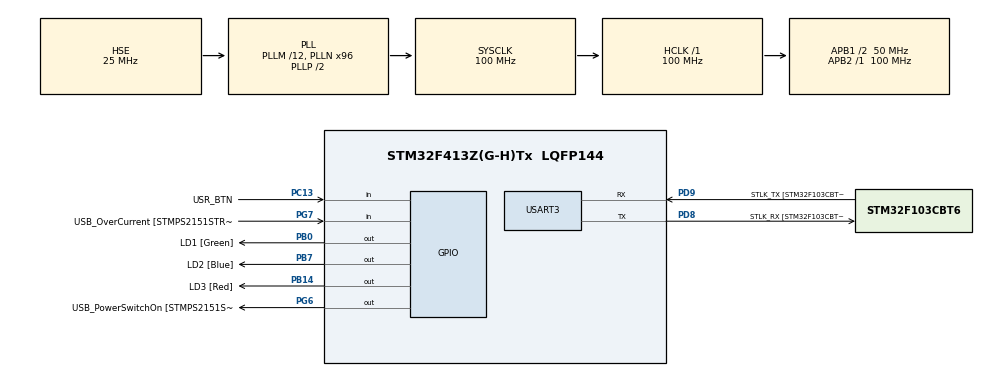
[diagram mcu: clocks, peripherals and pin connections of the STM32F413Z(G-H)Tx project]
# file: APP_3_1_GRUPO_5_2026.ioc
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Mcu.Family=STM32F4
Mcu.Name=STM32F413Z(G-H)Tx
Mcu.Package=LQFP144
NVIC.PriorityGroup=NVIC_PRIORITYGROUP_4
PA13.GPIO_Label=TMS
PA13.Mode=Serial_Wire
PA13.Signal=SYS_JTMS-SWDIO
PA14.GPIO_Label=TCK
PA14.Mode=Serial_Wire
PA14.Signal=SYS_JTCK-SWCLK
PB0.GPIO_Label=LD1 [Green]
PB0.Signal=GPIO_Output
PB14.GPIO_Label=LD3 [Red]
PB14.Signal=GPIO_Output
PB7.GPIO_Label=LD2 [Blue]
PB7.Signal=GPIO_Output
PC13.GPIO_Label=USR_BTN
PC13.Signal=GPIO_Input
PC14-OSC32_IN.Mode=LSE-External-Oscillator
PC14-OSC32_IN.Signal=RCC_OSC32_IN
PC15-OSC32_OUT.Mode=LSE-External-Oscillator
PC15-OSC32_OUT.Signal=RCC_OSC32_OUT
PD8.GPIO_Label=STLK_RX [STM32F103CBT6_PA3]
PD8.Mode=Asynchronous
PD8.Signal=USART3_TX
PD9.GPIO_Label=STLK_TX [STM32F103CBT6_PA2]
PD9.Mode=Asynchronous
PD9.Signal=USART3_RX
PG6.GPIO_Label=USB_PowerSwitchOn [STMPS2151STR_EN]
PG6.Signal=GPIO_Output
PG7.GPIO_Label=USB_OverCurrent [STMPS2151STR_FAULT]
PG7.Signal=GPIO_Input
PH0\ -\ OSC_IN.Mode=HSE-External-Oscillator
PH0\ -\ OSC_IN.Signal=RCC_OSC_IN
PH1\ -\ OSC_OUT.Mode=HSE-External-Oscillator
PH1\ -\ OSC_OUT.Signal=RCC_OSC_OUT
ProjectManager.HeapSize=0x200
ProjectManager.StackSize=0x400
ProjectManager.TargetToolchain=STM32CubeIDE
RCC.AHBFreq_Value=100000000
RCC.APB1CLKDivider=RCC_HCLK_DIV2
RCC.APB1Freq_Value=50000000
RCC.APB1TimFreq_Value=100000000
RCC.APB2Freq_Value=100000000
RCC.APB2TimFreq_Value=100000000
RCC.CortexFreq_Value=100000000
RCC.HCLKFreq_Value=100000000
RCC.PLLM=12
RCC.PLLN=96
RCC.PLLSourceVirtual=RCC_PLLSOURCE_HSE
RCC.SYSCLKFreq_VALUE=100000000
RCC.SYSCLKSource=RCC_SYSCLKSOURCE_PLLCLK
RCC.USBFreq_Value=100000000
RCC.VCOOutputFreq_Value=200000000
USART3.VirtualMode=VM_ASYNC
board=NUCLEO-F413ZH

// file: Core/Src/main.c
/* USER CODE BEGIN Header */
/**
  ******************************************************************************
  * @file           : main.c
  * @brief          : Main program body
  ******************************************************************************
  * @attention
  *
  * Copyright (c) 2026 STMicroelectronics.
  * All rights reserved.
  *
  * This software is licensed under terms that can be found in the LICENSE file
  * in the root directory of this software component.
  * If no LICENSE file comes with this software, it is provided AS-IS.
  *
  ******************************************************************************
  */
/* USER CODE END Header */
#include "main.h"
#include "API_GPIO.h"
#include "API_delay.h" // Include del nuevo driver no bloqueante
#include "API_debounce.h" //Include del nuevo driver anti-rebote

/* USER CODE BEGIN PD */
#define LED1 LD1_Pin // GREEN LED
#define LED2 LD2_Pin // BLUE LED
#define LED3 LD3_Pin // RED LED
#define LED_DELAY_TIME 200 // Tiempo de retardo en milisegundos
/* USER CODE END PD */

UART_HandleTypeDef huart3;

void SystemClock_Config(void);
//static void MX_GPIO_Init(void); //elimino esta línea en main.c porque voy a pasar a declararla y usarla desde el driver que estamos creando
static void MX_USART3_UART_Init(void);

int main(void)
{

  /* MCU Configuration--------------------------------------------------------*/

  /* Reset of all peripherals, Initializes the Flash interface and the Systick. */
  HAL_Init();

  /* USER CODE BEGIN Init */
  uint16_t LEDS[3] = {LED1, LED2, LED3}; // vector de leds de usuario

  // Variable de retardo y control de LEDs
    delay_t ledDelay;
    uint8_t ledIndex = 0;
    bool_t ledStateOn = true; // Flag para alternar entre encender y apagar

  /* USER CODE END Init */

  /* Configure the system clock */
  SystemClock_Config();

  /* Initialize all configured peripherals */
  MX_GPIO_Init();
  MX_USART3_UART_Init();
  /* USER CODE BEGIN 2 */
  debounceFSM_init(); //Inicializo la MSF

  // Inicialización del delay no bloqueante de 200 ms
      delayInit(&ledDelay, LED_DELAY_TIME);

  /* USER CODE END 2 */

  /* Infinite loop */
  /* USER CODE BEGIN WHILE */
  while (1)
  {
	  // --- LÓGICA DEL BOTÓN ---
	     bool currentButtonState = readButton_GPIO(); //Leemos el estado físico del botón
	     debounceFSM_update(currentButtonState); //Le pasamos ese estado a la máquina de antirrebote

	  		  // Chequeo del delay no bloqueante (cumplen los 200 ms)
	  		        if (delayRead(&ledDelay))
	  		        {
	  		            if (ledStateOn)
	  		            {
	  		                // Enciende el LED actual
	  		                writeLedOn_GPIO(LEDS[ledIndex]);
	  		                ledStateOn = false; // El siguiente ciclo de delay apagará
	  		            }

	  		            else
	  		            {
	  		                // Apaga el LED actual
	  		                writeLedOff_GPIO(LEDS[ledIndex]);
	  		                ledStateOn = true;  // El siguiente ciclo de delay encenderá

	  		                // Incrementa el índice para pasar al siguiente LED (0, 1, 2)
	  		                ledIndex = (ledIndex + 1) % 3;
	  		            }
	  		        }

    /* USER CODE END WHILE */

  }
}

void SystemClock_Config(void)
{
  RCC_OscInitTypeDef RCC_OscInitStruct = {0};
  RCC_ClkInitTypeDef RCC_ClkInitStruct = {0};

  /** Configure the main internal regulator output voltage
  */
  __HAL_RCC_PWR_CLK_ENABLE();
  __HAL_PWR_VOLTAGESCALING_CONFIG(PWR_REGULATOR_VOLTAGE_SCALE1);

  /** Initializes the RCC Oscillators according to the specified parameters
  * in the RCC_OscInitTypeDef structure.
  */
  RCC_OscInitStruct.OscillatorType = RCC_OSCILLATORTYPE_HSE;
  RCC_OscInitStruct.HSEState = RCC_HSE_ON;
  RCC_OscInitStruct.PLL.PLLState = RCC_PLL_ON;
  RCC_OscInitStruct.PLL.PLLSource = RCC_PLLSOURCE_HSE;
  RCC_OscInitStruct.PLL.PLLM = 12;
  RCC_OscInitStruct.PLL.PLLN = 96;
  RCC_OscInitStruct.PLL.PLLP = RCC_PLLP_DIV2;
  RCC_OscInitStruct.PLL.PLLQ = 2;
  RCC_OscInitStruct.PLL.PLLR = 2;
  if (HAL_RCC_OscConfig(&RCC_OscInitStruct) != HAL_OK)
  {
    Error_Handler();
  }

  /** Initializes the CPU, AHB and APB buses clocks
  */
  RCC_ClkInitStruct.ClockType = RCC_CLOCKTYPE_HCLK|RCC_CLOCKTYPE_SYSCLK
                              |RCC_CLOCKTYPE_PCLK1|RCC_CLOCKTYPE_PCLK2;
  RCC_ClkInitStruct.SYSCLKSource = RCC_SYSCLKSOURCE_PLLCLK;
  RCC_ClkInitStruct.AHBCLKDivider = RCC_SYSCLK_DIV1;
  RCC_ClkInitStruct.APB1CLKDivider = RCC_HCLK_DIV2;
  RCC_ClkInitStruct.APB2CLKDivider = RCC_HCLK_DIV1;

  if (HAL_RCC_ClockConfig(&RCC_ClkInitStruct, FLASH_LATENCY_3) != HAL_OK)
  {
    Error_Handler();
  }
}

static void MX_USART3_UART_Init(void)
{

  huart3.Instance = USART3;
  huart3.Init.BaudRate = 115200;
  huart3.Init.WordLength = UART_WORDLENGTH_8B;
  huart3.Init.StopBits = UART_STOPBITS_1;
  huart3.Init.Parity = UART_PARITY_NONE;
  huart3.Init.Mode = UART_MODE_TX_RX;
  huart3.Init.HwFlowCtl = UART_HWCONTROL_NONE;
  huart3.Init.OverSampling = UART_OVERSAMPLING_16;
  if (HAL_UART_Init(&huart3) != HAL_OK)
  {
    Error_Handler();
  }

}

void Error_Handler(void)
{
  __disable_irq();
  while (1)
  {
  }
}
